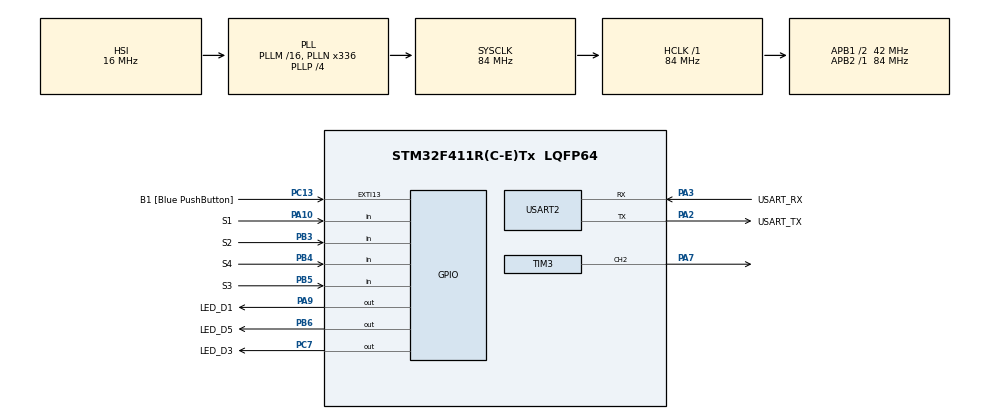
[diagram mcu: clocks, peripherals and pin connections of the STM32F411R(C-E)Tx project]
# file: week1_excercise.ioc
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Mcu.Family=STM32F4
Mcu.Name=STM32F411R(C-E)Tx
Mcu.Package=LQFP64
NVIC.PriorityGroup=NVIC_PRIORITYGROUP_0
PA10.GPIO_Label=S1
PA10.Signal=GPIO_Input
PA13.GPIO_Label=TMS
PA13.Mode=Serial_Wire
PA13.Signal=SYS_JTMS-SWDIO
PA14.GPIO_Label=TCK
PA14.Mode=Serial_Wire
PA14.Signal=SYS_JTCK-SWCLK
PA2.GPIO_Label=USART_TX
PA2.Mode=Asynchronous
PA2.Signal=USART2_TX
PA3.GPIO_Label=USART_RX
PA3.Mode=Asynchronous
PA3.Signal=USART2_RX
PA7.Signal=S_TIM3_CH2
PA9.GPIO_Label=LED_D1
PA9.Signal=GPIO_Output
PB3.GPIO_Label=S2
PB3.Signal=GPIO_Input
PB4.GPIO_Label=S4
PB4.Signal=GPIO_Input
PB5.GPIO_Label=S3
PB5.Signal=GPIO_Input
PB6.GPIO_Label=LED_D5
PB6.Signal=GPIO_Output
PC13-ANTI_TAMP.GPIO_Label=B1 [Blue PushButton]
PC13-ANTI_TAMP.GPIO_ModeDefaultEXTI=GPIO_MODE_IT_FALLING
PC13-ANTI_TAMP.Signal=GPXTI13
PC14-OSC32_IN.Mode=LSE-External-Oscillator
PC14-OSC32_IN.Signal=RCC_OSC32_IN
PC15-OSC32_OUT.Mode=LSE-External-Oscillator
PC15-OSC32_OUT.Signal=RCC_OSC32_OUT
PC7.GPIO_Label=LED_D3
PC7.Signal=GPIO_Output
PH0\ -\ OSC_IN.Mode=HSE-External-Clock-Source
PH0\ -\ OSC_IN.Signal=RCC_OSC_IN
PH1\ -\ OSC_OUT.Mode=HSE-External-Clock-Source
PH1\ -\ OSC_OUT.Signal=RCC_OSC_OUT
ProjectManager.HeapSize=0x200
ProjectManager.StackSize=0x400
ProjectManager.TargetToolchain=STM32CubeIDE
RCC.48MHZClocksFreq_Value=84000000
RCC.AHBFreq_Value=84000000
RCC.APB1CLKDivider=RCC_HCLK_DIV2
RCC.APB1Freq_Value=42000000
RCC.APB1TimFreq_Value=84000000
RCC.APB2Freq_Value=84000000
RCC.APB2TimFreq_Value=84000000
RCC.CortexFreq_Value=84000000
RCC.FLatency-AdvancedSettings=FLASH_LATENCY_2
RCC.HCLKFreq_Value=84000000
RCC.HSE_VALUE=8000000
RCC.HSI_VALUE=16000000
RCC.PLLN=336
RCC.PLLP=RCC_PLLP_DIV4
RCC.SYSCLKFreq_VALUE=84000000
RCC.SYSCLKSource=RCC_SYSCLKSOURCE_PLLCLK
RCC.VCOOutputFreq_Value=336000000
SH.S_TIM3_CH2.0=TIM3_CH2,PWM Generation2 CH2
TIM3.Channel-PWM\ Generation2\ CH2=TIM_CHANNEL_2
TIM3.Period=625
TIM3.Prescaler=127
USART2.VirtualMode=VM_ASYNC
VP_TIM3_VS_ClockSourceINT.Mode=Internal
board=NUCLEO-F411RE

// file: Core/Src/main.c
/* USER CODE BEGIN Header */
/**
  ******************************************************************************
  * @file           : main.c
  * @brief          : Main program body
  ******************************************************************************
  * @attention
  *
  * Copyright (c) 2022 STMicroelectronics.
  * All rights reserved.
  *
  * This software is licensed under terms that can be found in the LICENSE file
  * in the root directory of this software component.
  * If no LICENSE file comes with this software, it is provided AS-IS.
  *
  ******************************************************************************
  */
/* USER CODE END Header */
#include "main.h"

TIM_HandleTypeDef htim3;

UART_HandleTypeDef huart2;

void SystemClock_Config(void);
static void MX_GPIO_Init(void);
static void MX_USART2_UART_Init(void);
static void MX_TIM3_Init(void);

int main(void)
{

  /* MCU Configuration--------------------------------------------------------*/

  /* Reset of all peripherals, Initializes the Flash interface and the Systick. */
  HAL_Init();

  /* Configure the system clock */
  SystemClock_Config();

  /* Initialize all configured peripherals */
  MX_GPIO_Init();
  MX_USART2_UART_Init();
  MX_TIM3_Init();
  /* USER CODE BEGIN 2 */
  HAL_TIM_PWM_Start(&htim3, TIM_CHANNEL_2);
  /* USER CODE END 2 */

  /* Infinite loop */
  /* USER CODE BEGIN WHILE */
  while (1)
  {
	  static GPIO_PinState pinState_D1[2] = {0};
	  static GPIO_PinState pinState_D3[2] = {0};
	  static GPIO_PinState pinState_D5[2] = {0};
	  static GPIO_PinState pinState_D7[2] = {0};
	  static uint16_t frequency[] = {2000,1000,500,1000/3};
	  static uint8_t state_1 = 0;
	  static uint8_t state_2 = 0;
	  static uint8_t state_3 = 0;
	  static uint8_t state_4 = 0;
	  static uint16_t pwm[] = {626,467,313,156,0};
	  static uint32_t timeStamp_1 = 0;
	  static uint32_t timeStamp_2 = 0;
	  static uint32_t timeStamp_3 = 0;
	  pinState_D1[0] = HAL_GPIO_ReadPin(GPIOA, GPIO_PIN_10);
	  pinState_D3[0] = HAL_GPIO_ReadPin(GPIOB, GPIO_PIN_3);
	  pinState_D5[0] = HAL_GPIO_ReadPin(GPIOB, GPIO_PIN_5);
	  pinState_D7[0] = HAL_GPIO_ReadPin(GPIOB, GPIO_PIN_4);
	  //rising detect
	  if(pinState_D1[0]==GPIO_PIN_RESET && pinState_D1[1]==GPIO_PIN_SET){
		  state_1++;
		  if(state_1>3){
			  state_1 = 0;
		  }
	  }
	  pinState_D1[1]=pinState_D1[0];
	  if(pinState_D3[0]==GPIO_PIN_RESET && pinState_D3[1]==GPIO_PIN_SET){
		  state_2 ^= 1;
	  }
	  pinState_D3[1]=pinState_D3[0];
	  if(pinState_D5[0]==GPIO_PIN_RESET && pinState_D5[1]==GPIO_PIN_SET){
		  state_3 ^= 1;
	  }
	  pinState_D5[1]=pinState_D5[0];
	  if(pinState_D7[0]==GPIO_PIN_RESET && pinState_D7[1]==GPIO_PIN_SET){
		  state_4++;
		  if(state_4>4){
			  state_4 = 0;
		  }
	  }
	  pinState_D7[1]=pinState_D7[0];
	  //pwm LED
	  __HAL_TIM_SET_COMPARE(&htim3,TIM_CHANNEL_2, pwm[state_4]);
	  if(HAL_GetTick()-timeStamp_1>frequency[state_1]/2){
		  HAL_GPIO_TogglePin(GPIOA, GPIO_PIN_9);
		  timeStamp_1 = HAL_GetTick();
	  }
	  if(HAL_GetTick()-timeStamp_2>frequency[2]/2 && state_2){
	  		  HAL_GPIO_TogglePin(GPIOC, GPIO_PIN_7);
	  		  timeStamp_2 = HAL_GetTick();
	  }
	  if(state_3){
		  if(HAL_GetTick()-timeStamp_3<500){
			  HAL_GPIO_WritePin(GPIOB, GPIO_PIN_6,GPIO_PIN_SET);

		  }
		  else if(HAL_GetTick()-timeStamp_3<2000){
			  HAL_GPIO_WritePin(GPIOB, GPIO_PIN_6,GPIO_PIN_RESET);
		  }
		  else{
			  timeStamp_3 = HAL_GetTick();
		  }
	  }
	  else{
		  if(HAL_GetTick()-timeStamp_3<1500){
			  HAL_GPIO_WritePin(GPIOB, GPIO_PIN_6,GPIO_PIN_SET);
		  }
		  else if(HAL_GetTick()-timeStamp_3<2000){
			  HAL_GPIO_WritePin(GPIOB, GPIO_PIN_6,GPIO_PIN_RESET);
		  }
		  else{
			  timeStamp_3 = HAL_GetTick();
		  }
	  }
    /* USER CODE END WHILE */

  }
}

void SystemClock_Config(void)
{
  RCC_OscInitTypeDef RCC_OscInitStruct = {0};
  RCC_ClkInitTypeDef RCC_ClkInitStruct = {0};

  /** Configure the main internal regulator output voltage
  */
  __HAL_RCC_PWR_CLK_ENABLE();
  __HAL_PWR_VOLTAGESCALING_CONFIG(PWR_REGULATOR_VOLTAGE_SCALE1);
  /** Initializes the RCC Oscillators according to the specified parameters
  * in the RCC_OscInitTypeDef structure.
  */
  RCC_OscInitStruct.OscillatorType = RCC_OSCILLATORTYPE_HSI;
  RCC_OscInitStruct.HSIState = RCC_HSI_ON;
  RCC_OscInitStruct.HSICalibrationValue = RCC_HSICALIBRATION_DEFAULT;
  RCC_OscInitStruct.PLL.PLLState = RCC_PLL_ON;
  RCC_OscInitStruct.PLL.PLLSource = RCC_PLLSOURCE_HSI;
  RCC_OscInitStruct.PLL.PLLM = 16;
  RCC_OscInitStruct.PLL.PLLN = 336;
  RCC_OscInitStruct.PLL.PLLP = RCC_PLLP_DIV4;
  RCC_OscInitStruct.PLL.PLLQ = 4;
  if (HAL_RCC_OscConfig(&RCC_OscInitStruct) != HAL_OK)
  {
    Error_Handler();
  }
  /** Initializes the CPU, AHB and APB buses clocks
  */
  RCC_ClkInitStruct.ClockType = RCC_CLOCKTYPE_HCLK|RCC_CLOCKTYPE_SYSCLK
                              |RCC_CLOCKTYPE_PCLK1|RCC_CLOCKTYPE_PCLK2;
  RCC_ClkInitStruct.SYSCLKSource = RCC_SYSCLKSOURCE_PLLCLK;
  RCC_ClkInitStruct.AHBCLKDivider = RCC_SYSCLK_DIV1;
  RCC_ClkInitStruct.APB1CLKDivider = RCC_HCLK_DIV2;
  RCC_ClkInitStruct.APB2CLKDivider = RCC_HCLK_DIV1;

  if (HAL_RCC_ClockConfig(&RCC_ClkInitStruct, FLASH_LATENCY_2) != HAL_OK)
  {
    Error_Handler();
  }
}

static void MX_TIM3_Init(void)
{

  TIM_ClockConfigTypeDef sClockSourceConfig = {0};
  TIM_MasterConfigTypeDef sMasterConfig = {0};
  TIM_OC_InitTypeDef sConfigOC = {0};

  htim3.Instance = TIM3;
  htim3.Init.Prescaler = 127;
  htim3.Init.CounterMode = TIM_COUNTERMODE_UP;
  htim3.Init.Period = 625;
  htim3.Init.ClockDivision = TIM_CLOCKDIVISION_DIV1;
  htim3.Init.AutoReloadPreload = TIM_AUTORELOAD_PRELOAD_DISABLE;
  if (HAL_TIM_Base_Init(&htim3) != HAL_OK)
  {
    Error_Handler();
  }
  sClockSourceConfig.ClockSource = TIM_CLOCKSOURCE_INTERNAL;
  if (HAL_TIM_ConfigClockSource(&htim3, &sClockSourceConfig) != HAL_OK)
  {
    Error_Handler();
  }
  if (HAL_TIM_PWM_Init(&htim3) != HAL_OK)
  {
    Error_Handler();
  }
  sMasterConfig.MasterOutputTrigger = TIM_TRGO_RESET;
  sMasterConfig.MasterSlaveMode = TIM_MASTERSLAVEMODE_DISABLE;
  if (HAL_TIMEx_MasterConfigSynchronization(&htim3, &sMasterConfig) != HAL_OK)
  {
    Error_Handler();
  }
  sConfigOC.OCMode = TIM_OCMODE_PWM1;
  sConfigOC.Pulse = 0;
  sConfigOC.OCPolarity = TIM_OCPOLARITY_HIGH;
  sConfigOC.OCFastMode = TIM_OCFAST_DISABLE;
  if (HAL_TIM_PWM_ConfigChannel(&htim3, &sConfigOC, TIM_CHANNEL_2) != HAL_OK)
  {
    Error_Handler();
  }
  HAL_TIM_MspPostInit(&htim3);

}

static void MX_USART2_UART_Init(void)
{

  huart2.Instance = USART2;
  huart2.Init.BaudRate = 115200;
  huart2.Init.WordLength = UART_WORDLENGTH_8B;
  huart2.Init.StopBits = UART_STOPBITS_1;
  huart2.Init.Parity = UART_PARITY_NONE;
  huart2.Init.Mode = UART_MODE_TX_RX;
  huart2.Init.HwFlowCtl = UART_HWCONTROL_NONE;
  huart2.Init.OverSampling = UART_OVERSAMPLING_16;
  if (HAL_UART_Init(&huart2) != HAL_OK)
  {
    Error_Handler();
  }

}

static void MX_GPIO_Init(void)
{
  GPIO_InitTypeDef GPIO_InitStruct = {0};

  /* GPIO Ports Clock Enable */
  __HAL_RCC_GPIOC_CLK_ENABLE();
  __HAL_RCC_GPIOH_CLK_ENABLE();
  __HAL_RCC_GPIOA_CLK_ENABLE();
  __HAL_RCC_GPIOB_CLK_ENABLE();

  /*Configure GPIO pin Output Level */
  HAL_GPIO_WritePin(LED_D3_GPIO_Port, LED_D3_Pin, GPIO_PIN_RESET);

  /*Configure GPIO pin Output Level */
  HAL_GPIO_WritePin(LED_D1_GPIO_Port, LED_D1_Pin, GPIO_PIN_RESET);

  /*Configure GPIO pin Output Level */
  HAL_GPIO_WritePin(LED_D5_GPIO_Port, LED_D5_Pin, GPIO_PIN_RESET);

  /*Configure GPIO pin : B1_Pin */
  GPIO_InitStruct.Pin = B1_Pin;
  GPIO_InitStruct.Mode = GPIO_MODE_IT_FALLING;
  GPIO_InitStruct.Pull = GPIO_NOPULL;
  HAL_GPIO_Init(B1_GPIO_Port, &GPIO_InitStruct);

  /*Configure GPIO pin : LED_D3_Pin */
  GPIO_InitStruct.Pin = LED_D3_Pin;
  GPIO_InitStruct.Mode = GPIO_MODE_OUTPUT_PP;
  GPIO_InitStruct.Pull = GPIO_NOPULL;
  GPIO_InitStruct.Speed = GPIO_SPEED_FREQ_LOW;
  HAL_GPIO_Init(LED_D3_GPIO_Port, &GPIO_InitStruct);

  /*Configure GPIO pin : LED_D1_Pin */
  GPIO_InitStruct.Pin = LED_D1_Pin;
  GPIO_InitStruct.Mode = GPIO_MODE_OUTPUT_PP;
  GPIO_InitStruct.Pull = GPIO_NOPULL;
  GPIO_InitStruct.Speed = GPIO_SPEED_FREQ_LOW;
  HAL_GPIO_Init(LED_D1_GPIO_Port, &GPIO_InitStruct);

  /*Configure GPIO pin : S1_Pin */
  GPIO_InitStruct.Pin = S1_Pin;
  GPIO_InitStruct.Mode = GPIO_MODE_INPUT;
  GPIO_InitStruct.Pull = GPIO_NOPULL;
  HAL_GPIO_Init(S1_GPIO_Port, &GPIO_InitStruct);

  /*Configure GPIO pins : S2_Pin S4_Pin S3_Pin */
  GPIO_InitStruct.Pin = S2_Pin|S4_Pin|S3_Pin;
  GPIO_InitStruct.Mode = GPIO_MODE_INPUT;
  GPIO_InitStruct.Pull = GPIO_NOPULL;
  HAL_GPIO_Init(GPIOB, &GPIO_InitStruct);

  /*Configure GPIO pin : LED_D5_Pin */
  GPIO_InitStruct.Pin = LED_D5_Pin;
  GPIO_InitStruct.Mode = GPIO_MODE_OUTPUT_PP;
  GPIO_InitStruct.Pull = GPIO_NOPULL;
  GPIO_InitStruct.Speed = GPIO_SPEED_FREQ_LOW;
  HAL_GPIO_Init(LED_D5_GPIO_Port, &GPIO_InitStruct);

}

void Error_Handler(void)
{
  __disable_irq();
  while (1)
  {
  }
}
